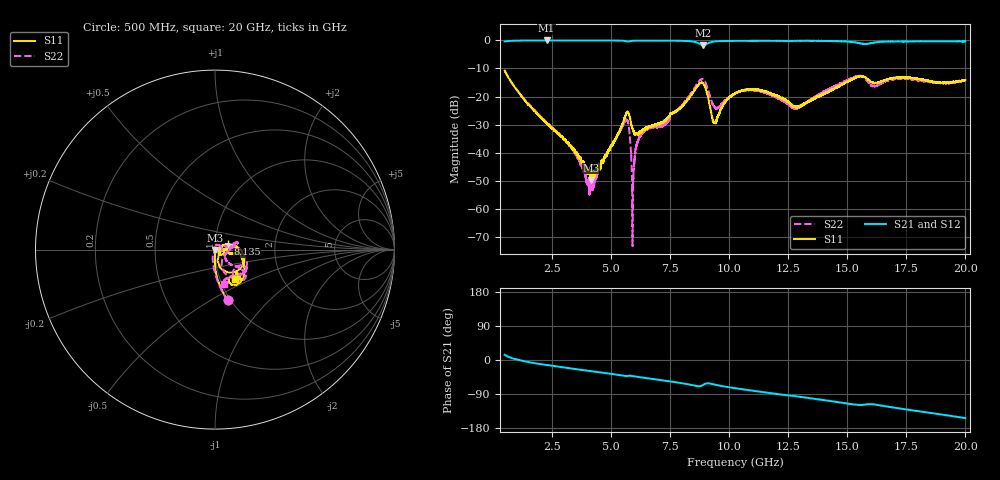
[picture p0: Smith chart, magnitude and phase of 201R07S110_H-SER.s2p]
!{201R07S110}
!Johanson Technology Inc.
!www.johansontechnology.com
!Test Board Conditions:
!Substrate Type  RO4350B
!Substrate Thickness  10 mil
!Substrate Dk  3.66
!TL Type: GCPW
!TL Trace Width  21 mil
!TL Gap  20 mil
!Electrode orientation  Horizontal
!DUT TOPOLOGY	SERIES
!Mounting Pad LxW  16x21 mil
!Agilent Technologies,N5230A,MY45001966,A.07.50.67
!Agilent N5230A: A.07.50.67
! Created Mon Mar  9 15:49:05 2020
# mhz S ma R 50
! 2 Port Network Data from SP1.SP block
! freq  magS11  angS11  magS21  angS21  magS12  angS12  magS22  angS22
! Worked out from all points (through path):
!   19501 points, 500 MHz to 20 GHz, reference 50 ohm
!   highest |S21| = -0.02 dB at 2.276 GHz (marker M1); lowest = -1.7 dB at 8.906 GHz (marker M2)
!   group delay of S21, straight-line fit = 21.6 ps
!   lowest |S11| = -49.8 dB at 4.152 GHz (marker M3), VSWR 1.01, Z = 50.2 - j0.215 ohm
!   |S11| at or under -10 dB: start of sweep to end of sweep
!   |S22| runs from -73.3 to -10.7 dB; largest |S21 - S12| = 0.015
!   S11 on the Smith chart (normalised r, x): 500 MHz: 0.97, -0.60; 8.135 GHz: 1.15, +0.07; 20 GHz: 1.18, -0.40
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500  0.2903 -76.0  0.956 13.8  0.955 13.8  0.2916 -76.1
2276  0.03368 -89.6  0.9979 -13.4  0.9966 -13.3  0.03466 -110.5
3750  0.00705 -83.5  0.9965 -26.1  0.9974 -26.1  0.006181 -95.9
4152  0.00325 -41.1  0.9963 -29.4  0.9977 -29.4  0.002649 -35.7
4489  0.005717 6.4  0.9972 -32.2  0.9971 -32.2  0.005021 45.1
5604  0.04428 6.4  0.9758 -42.2  0.9745 -42.2  0.03783 27.7
5744  0.04985 -30.3  0.9568 -41.8  0.9563 -41.8  0.03146 -21.5
5859  0.03178 -47.8  0.976 -41.9  0.9764 -41.9  0.008646 -57.7
5940  0.02487 -44.5  0.9859 -42.6  0.9845 -42.6  0.003401 112.3
6090  0.02213 -24.1  0.9911 -44.2  0.9909 -44.2  0.01393 97.9
6246  0.02342 -10.9  0.9927 -45.7  0.9928 -45.6  0.0196 91.8
7000  0.03324 5.7  0.9937 -52.2  0.9936 -52.1  0.02966 70.5
8135  0.07647 23.0  0.9795 -62.6  0.9783 -62.7  0.08077 9.6
8906  0.1698 -44.3  0.8237 -65.6  0.825 -65.6  0.2012 -45.0
9382  0.03471 -35.5  0.9539 -64.8  0.9534 -64.8  0.06531 -45.6
10250  0.1136 4.7  0.9785 -74.3  0.9779 -74.3  0.1135 11.1
11309  0.1294 -9.5  0.9833 -83.7  0.9833 -83.6  0.1243 18.7
12795  0.06516 -2.4  0.981 -95.4  0.9788 -95.4  0.0613 -25.8
13500  0.08815 15.8  0.9862 -101.6  0.9815 -101.6  0.09022 -44.3
15378  0.2183 -43.5  0.9164 -118.1  0.917 -118.0  0.2292 -41.6
16750  0.2057 -49.1  0.9585 -123.3  0.9502 -123.5  0.1954 -29.7
20000  0.1966 -55.6  0.9607 -153.2  0.9608 -153.0  0.1989 -75.2
